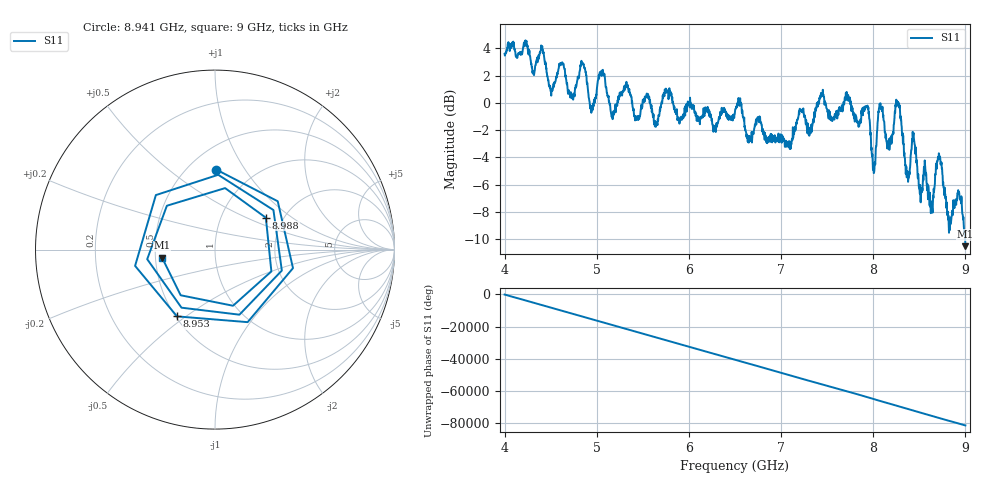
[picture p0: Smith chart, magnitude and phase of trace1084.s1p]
! Created with skrf 1.8.0 (http://scikit-rf.org).
# Hz S RI R 50.0
!freq ReS11 ImS11
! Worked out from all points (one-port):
!   1601 points, 4 GHz to 9 GHz, reference 50 ohm
!   lowest |S11| = -10.5 dB at 9 GHz (marker M1), VSWR 1.85, Z = 27.1 - j2.69 ohm
!   |S11| at or under -10 dB: 8.997302 GHz to end of sweep
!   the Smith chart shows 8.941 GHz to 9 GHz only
!   S11 on the Smith chart (normalised r, x): 8.941 GHz: 0.68, +0.75; 8.953 GHz: 0.51, -0.46; 8.988 GHz: 1.63, +0.65; 9 GHz: 0.54, -0.05
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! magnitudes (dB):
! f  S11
! 4 GHz  3.6
! 4.406 GHz  4.1
! 4.503 GHz  0.8
! 4.625 GHz  3.0
! 4.728 GHz  0.4
! 4.847 GHz  2.9
! 4.941 GHz  -0.7
! 5.053 GHz  2.0
! 5.166 GHz  -0.8
! 5.25 GHz  0.8
! 5.875 GHz  -1.3
! 6.5 GHz  -0.6
! 7.125 GHz  -2.7
! 7.75 GHz  0.2
! 7.938 GHz  -0.2
! 8.003 GHz  -4.9
! 8.078 GHz  0.0
! 8.172 GHz  -2.6
! 8.266 GHz  -0.2
! 8.375 GHz  -5.1
! 8.438 GHz  -2.2
! 8.628 GHz  -7.2
! 8.716 GHz  -3.8
! 8.825 GHz  -9.1
! 8.941 GHz  -7.0
! 8.953 GHz  -7.4
! 8.988 GHz  -9.5
! 9 GHz  -10.5
